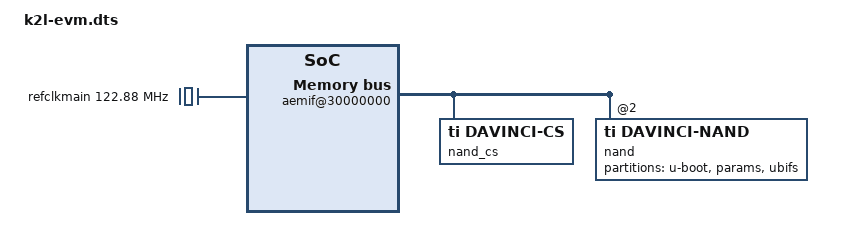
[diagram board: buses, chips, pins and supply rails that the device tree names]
/*
 * Copyright 2014 Texas Instruments, Inc.
 *
 * Keystone 2 Lamarr EVM device tree file
 *
 * This program is free software; you can redistribute it and/or modify
 * it under the terms of the GNU General Public License version 2 as
 * published by the Free Software Foundation.
 */
/dts-v1/;

/include/ "keystone.dtsi"
/include/ "k2l.dtsi"

/ {
	compatible = "ti,k2l-evm", "ti,keystone";

	soc {
		clocks {
			refclkmain: refclkmain {
				#clock-cells = <0>;
				compatible = "fixed-clock";
				clock-frequency = <122880000>;
				clock-output-names = "refclk-main";
			};
		};

		aemif@30000000 {
			nand_cs:cs2@30000000 {
				compatible = "ti,davinci-cs";
				#address-cells = <1>;
				#size-cells = <1>;
				/* all timings in nanoseconds */
				ti,davinci-cs-ta = <12>;
				ti,davinci-cs-rhold = <6>;
				ti,davinci-cs-rstrobe = <23>;
				ti,davinci-cs-rsetup = <9>;
				ti,davinci-cs-whold = <8>;
				ti,davinci-cs-wstrobe = <23>;
				ti,davinci-cs-wsetup = <8>;
			};

			nand@2,0 {
				compatible = "ti,davinci-nand";
				reg = <2 0x0 0x8000000
					6 0x0 0x100>;
				#address-cells = <1>;
				#size-cells = <1>;
				ti,davinci-chipselect = <0>;
				ti,davinci-mask-ale = <0x2000>;
				ti,davinci-mask-cle = <0x4000>;
				ti,davinci-mask-chipsel = <0>;
				ti,davinci-ecc-mode = "hw";
				ti,davinci-ecc-bits = <4>;
				ti,davinci-nand-use-bbt;
				ti,davinci-no-subpage-write;
				clocks = <&clkaemif>;
				clock-names = "aemif";

				partition@0 {
					label = "u-boot";
					reg = <0x0 0x100000>;
					read-only;
				};

				partition@100000 {
					label = "params";
					reg = <0x100000 0x80000>;
					read-only;
				};

				partition@180000 {
					label = "ubifs";
					reg = <0x180000 0x7fe80000>;
				};
			};
		};
	};
};

